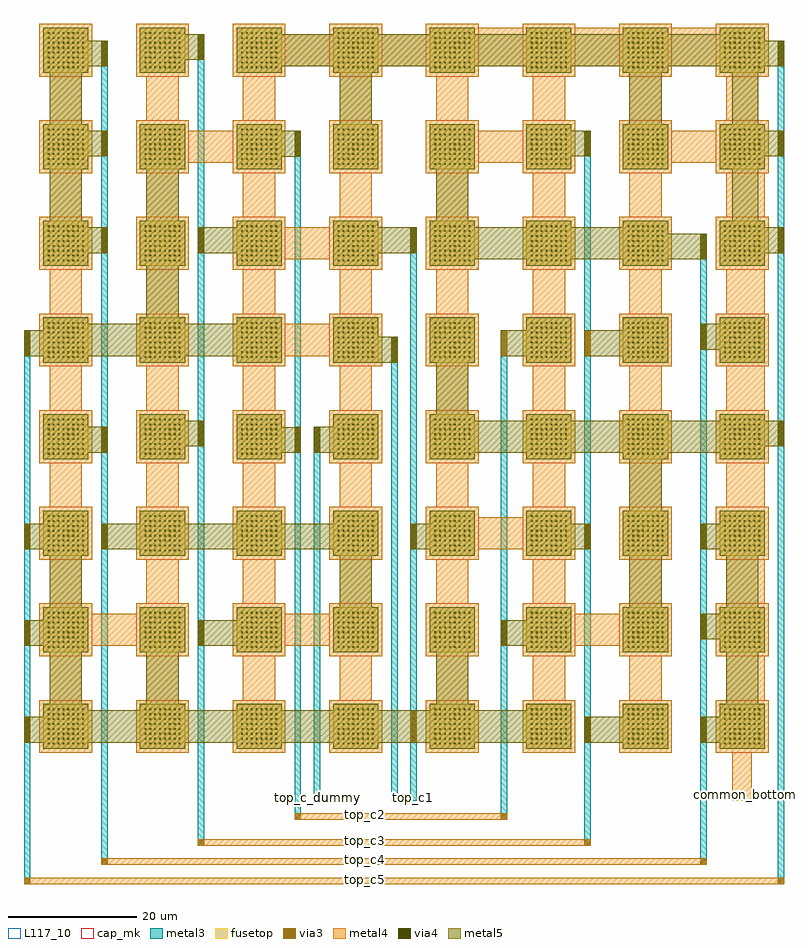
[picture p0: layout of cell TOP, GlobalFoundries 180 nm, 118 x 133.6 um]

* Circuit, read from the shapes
.subckt TOP common_bottom top_c0 top_c1 top_c2 top_c3 top_c4 top_c5 top_c_dummy
XC1 top_c5 common_bottom cap_mim_2f0fF c_width=7u c_length=7u m=32
XC2 top_c4 common_bottom cap_mim_2f0fF c_width=7u c_length=7u m=16
XC3 top_c3 common_bottom cap_mim_2f0fF c_width=7u c_length=7u m=7
XC4 top_c2 common_bottom cap_mim_2f0fF c_width=7u c_length=7u m=3
XC5 top_c_dummy common_bottom cap_mim_2f0fF c_width=7u c_length=7u
XC6 top_c0 common_bottom cap_mim_2f0fF c_width=7u c_length=7u
XC7 top_c1 common_bottom cap_mim_2f0fF c_width=7u c_length=7u m=2
XC8 n1 common_bottom cap_mim_2f0fF c_width=7u c_length=7u
XC9 n2 common_bottom cap_mim_2f0fF c_width=7u c_length=7u
.ends

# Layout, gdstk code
import gdstk
lib = gdstk.Library(unit=1e-6, precision=5e-09)
def R(c, l, rs):  # rectangles x0, y0, x1, y1
    for r in rs: c.add(gdstk.rectangle(r[:2], r[2:], *l))
def A(c, l, x, y, w, h, nx, ny, dx, dy):  # array of equal rectangles
    R(c, l, [(x+i*dx, y+j*dy, x+i*dx+w, y+j*dy+h) for i in range(nx) for j in range(ny)])
via3 = (40, 0)
via4 = (41, 0)
metal3 = (42, 0)
metal4 = (46, 0)
fusetop = (75, 0)
metal5 = (81, 0)
cap_mk = (117, 5)
L117_10 = (117, 10)

top = lib.new_cell('TOP')
A(top, via3, -111, -26, 1, 4, 1, 3, 0, 15)
A(top, via3, -24, -26, 1, 4, 1, 3, 0, 30)
A(top, via3, -84, 20, 1, 4, 1, 3, 0, 30)
R(top, via3, [(-111,-48,-110,-47), (6,-48,7,-47), (-99,-45,-98,-44), (-6,-45,-5,-44), (-84,-42,-83,-41), (-24,-42,-23,-41), (-69,-38,-68,-37), (-37,-38,-36,-37), (-51,-26,-50,-21), (-6,-26,-5,-22), (-6,-26,-5,-22), (-84,-11,-83,-7), (-37,-11,-36,-7), (-6,-10,-5,-6), (-99,4,-98,8), (-99,4,-98,8), (-99,4,-98,8), (-99,4,-98,8), (-51,4,-50,8), (-6,4,-5,8), (-99,19,-98,23), (-99,19,-98,23), (-99,19,-98,23), (-99,19,-98,23), (-69,19,-68,23), (-66,19,-65,23), (6,20,7,24), (-54,33,-53,37), (-111,34,-110,38), (-37,34,-36,38), (-6,35,-5,39), (-6,49,-5,53), (-99,50,-98,54), (-99,50,-98,54), (-99,50,-98,54), (-99,50,-98,54), (-51,50,-50,54), (6,50,7,54), (-99,65,-98,69), (-99,65,-98,69), (-69,65,-68,69), (-24,65,-23,69), (6,65,7,69), (-99,79,-98,83), (-99,79,-98,83), (6,79,7,83)])
A(top, via4, -107.29, -26.29, 0.26, 0.26, 8, 8, 0.76, 0.76)
A(top, via4, -92.29, -26.29, 0.26, 0.26, 8, 8, 0.76, 0.76)
A(top, via4, -77.29, -26.29, 0.26, 0.26, 8, 8, 0.76, 0.76)
A(top, via4, -62.29, -26.29, 0.26, 0.26, 8, 8, 0.76, 0.76)
A(top, via4, -47.29, -26.29, 0.26, 0.26, 8, 8, 0.76, 0.76)
A(top, via4, -32.29, -26.29, 0.26, 0.26, 8, 8, 0.76, 0.76)
A(top, via4, -17.29, -26.29, 0.26, 0.26, 8, 8, 0.76, 0.76)
A(top, via4, -2.29, -26.29, 0.26, 0.26, 8, 8, 0.76, 0.76)
A(top, via4, -111, -26, 1, 4, 1, 3, 0, 15)
A(top, via4, -107.29, -11.29, 0.26, 0.26, 8, 8, 0.76, 0.76)
A(top, via4, -92.29, -11.29, 0.26, 0.26, 8, 8, 0.76, 0.76)
A(top, via4, -77.29, -11.29, 0.26, 0.26, 8, 8, 0.76, 0.76)
A(top, via4, -62.29, -11.29, 0.26, 0.26, 8, 8, 0.76, 0.76)
A(top, via4, -47.29, -11.29, 0.26, 0.26, 8, 8, 0.76, 0.76)
A(top, via4, -32.29, -11.29, 0.26, 0.26, 8, 8, 0.76, 0.76)
A(top, via4, -17.29, -11.29, 0.26, 0.26, 8, 8, 0.76, 0.76)
A(top, via4, -2.29, -11.29, 0.26, 0.26, 8, 8, 0.76, 0.76)
A(top, via4, -107.29, 3.71, 0.26, 0.26, 8, 8, 0.76, 0.76)
A(top, via4, -92.29, 3.71, 0.26, 0.26, 8, 8, 0.76, 0.76)
A(top, via4, -77.29, 3.71, 0.26, 0.26, 8, 8, 0.76, 0.76)
A(top, via4, -62.29, 3.71, 0.26, 0.26, 8, 8, 0.76, 0.76)
A(top, via4, -47.29, 3.71, 0.26, 0.26, 8, 8, 0.76, 0.76)
A(top, via4, -32.29, 3.71, 0.26, 0.26, 8, 8, 0.76, 0.76)
A(top, via4, -17.29, 3.71, 0.26, 0.26, 8, 8, 0.76, 0.76)
A(top, via4, -2.29, 3.71, 0.26, 0.26, 8, 8, 0.76, 0.76)
A(top, via4, -107.29, 18.71, 0.26, 0.26, 8, 8, 0.76, 0.76)
A(top, via4, -92.29, 18.71, 0.26, 0.26, 8, 8, 0.76, 0.76)
A(top, via4, -77.29, 18.71, 0.26, 0.26, 8, 8, 0.76, 0.76)
A(top, via4, -62.29, 18.71, 0.26, 0.26, 8, 8, 0.76, 0.76)
A(top, via4, -47.29, 18.71, 0.26, 0.26, 8, 8, 0.76, 0.76)
A(top, via4, -32.29, 18.71, 0.26, 0.26, 8, 8, 0.76, 0.76)
A(top, via4, -17.29, 18.71, 0.26, 0.26, 8, 8, 0.76, 0.76)
A(top, via4, -2.29, 18.71, 0.26, 0.26, 8, 8, 0.76, 0.76)
A(top, via4, -84, 20, 1, 4, 1, 3, 0, 30)
A(top, via4, -107.29, 33.71, 0.26, 0.26, 8, 8, 0.76, 0.76)
A(top, via4, -92.29, 33.71, 0.26, 0.26, 8, 8, 0.76, 0.76)
A(top, via4, -77.29, 33.71, 0.26, 0.26, 8, 8, 0.76, 0.76)
A(top, via4, -62.29, 33.71, 0.26, 0.26, 8, 8, 0.76, 0.76)
A(top, via4, -47.29, 33.71, 0.26, 0.26, 8, 8, 0.76, 0.76)
A(top, via4, -32.29, 33.71, 0.26, 0.26, 8, 8, 0.76, 0.76)
A(top, via4, -17.29, 33.71, 0.26, 0.26, 8, 8, 0.76, 0.76)
A(top, via4, -2.29, 33.71, 0.26, 0.26, 8, 8, 0.76, 0.76)
A(top, via4, -107.29, 48.71, 0.26, 0.26, 8, 8, 0.76, 0.76)
A(top, via4, -92.29, 48.71, 0.26, 0.26, 8, 8, 0.76, 0.76)
A(top, via4, -77.29, 48.71, 0.26, 0.26, 8, 8, 0.76, 0.76)
A(top, via4, -62.29, 48.71, 0.26, 0.26, 8, 8, 0.76, 0.76)
A(top, via4, -47.29, 48.71, 0.26, 0.26, 8, 8, 0.76, 0.76)
A(top, via4, -32.29, 48.71, 0.26, 0.26, 8, 8, 0.76, 0.76)
A(top, via4, -17.29, 48.71, 0.26, 0.26, 8, 8, 0.76, 0.76)
A(top, via4, -2.29, 48.71, 0.26, 0.26, 8, 8, 0.76, 0.76)
A(top, via4, -107.29, 63.71, 0.26, 0.26, 8, 8, 0.76, 0.76)
A(top, via4, -92.29, 63.71, 0.26, 0.26, 8, 8, 0.76, 0.76)
A(top, via4, -77.29, 63.71, 0.26, 0.26, 8, 8, 0.76, 0.76)
A(top, via4, -62.29, 63.71, 0.26, 0.26, 8, 8, 0.76, 0.76)
A(top, via4, -47.29, 63.71, 0.26, 0.26, 8, 8, 0.76, 0.76)
A(top, via4, -32.29, 63.71, 0.26, 0.26, 8, 8, 0.76, 0.76)
A(top, via4, -17.29, 63.71, 0.26, 0.26, 8, 8, 0.76, 0.76)
A(top, via4, -2.29, 63.71, 0.26, 0.26, 8, 8, 0.76, 0.76)
A(top, via4, -107.29, 78.71, 0.26, 0.26, 8, 8, 0.76, 0.76)
A(top, via4, -92.29, 78.71, 0.26, 0.26, 8, 8, 0.76, 0.76)
A(top, via4, -77.29, 78.71, 0.26, 0.26, 8, 8, 0.76, 0.76)
A(top, via4, -62.29, 78.71, 0.26, 0.26, 8, 8, 0.76, 0.76)
A(top, via4, -47.29, 78.71, 0.26, 0.26, 8, 8, 0.76, 0.76)
A(top, via4, -32.29, 78.71, 0.26, 0.26, 8, 8, 0.76, 0.76)
A(top, via4, -17.29, 78.71, 0.26, 0.26, 8, 8, 0.76, 0.76)
A(top, via4, -2.29, 78.71, 0.26, 0.26, 8, 8, 0.76, 0.76)
R(top, via4, [(-24,-26,-23,-22), (-6,-26,-5,-22), (-84,-11,-83,-7), (-37,-11,-36,-7), (-6,-10,-5,-6), (-99,4,-98,8), (-99,4,-98,8), (-99,4,-98,8), (-99,4,-98,8), (-51,4,-50,8), (-24,4,-23,8), (-6,4,-5,8), (-99,19,-98,23), (-99,19,-98,23), (-99,19,-98,23), (-99,19,-98,23), (-69,19,-68,23), (-66,19,-65,23), (6,20,7,24), (-54,33,-53,37), (-111,34,-110,38), (-6,35,-5,39), (-6,49,-5,53), (-99,50,-98,54), (-99,50,-98,54), (-99,50,-98,54), (-99,50,-98,54), (-51,50,-50,54), (6,50,7,54), (-99,65,-98,69), (-99,65,-98,69), (-69,65,-68,69), (-24,65,-23,69), (6,65,7,69), (-99,79,-98,83), (-99,79,-98,83), (6,79,7,83)])
A(top, metal3, -111, -26, 1, 4, 1, 3, 0, 15)
A(top, metal3, -84, 20, 1, 4, 1, 3, 0, 30)
R(top, metal3, [(-111,-48,-110,-46), (6,-48,7,-45), (-111,-47,-110,-35), (6,-47,7,83), (-99,-45,-98,-33), (-6,-45,-5,-22), (-84,-42,-83,-35), (-24,-42,-23,-33), (-69,-38,-68,-35), (-37,-38,-36,38), (-111,-35,-110,38), (-99,-35,-98,8), (-84,-35,-83,-7), (-69,-35,-68,22.965), (-66,-35,-65,23), (-54,-35,-53,37), (-51,-35,-50,54), (-24,-35,-23,69), (-24,-26,-23,-22), (-6,-26,-5,-22), (-6,-26,-5,8), (-84,-11,-83,-7), (-84,-11,-83,84), (-37,-11,-36,-7), (-6,-10,-5,-6), (-99,4,-98,8), (-99,4,-98,8), (-99,4,-98,8), (-99,4,-98,8), (-99,4,-98,23), (-51,4,-50,8), (-24,4,-23,8), (-6,4,-5,8), (-6,4,-5,53), (-99,19,-98,23), (-99,19,-98,23), (-99,19,-98,23), (-99,19,-98,23), (-99,19,-98,54), (-69,19,-68,23), (-69,19,-68,69), (-66,19,-65,23), (6,20,7,24), (-54,33,-53,37), (-111,34,-110,38), (-37,34,-36,38), (-6,35,-5,39), (-6,49,-5,53), (-99,50,-98,54), (-99,50,-98,54), (-99,50,-98,54), (-99,50,-98,54), (-99,50,-98,83), (-51,50,-50,54), (6,50,7,54), (-99,65,-98,69), (-99,65,-98,69), (-69,65,-68,69), (6,65,7,69), (-99,79,-98,83), (-99,79,-98,83), (6,79,7,83)])
A(top, metal4, -108.6, -27.6, 8.2, 8.2, 8, 8, 15, 15)
A(top, metal4, -111, -26, 1, 4, 1, 3, 0, 15)
A(top, metal4, -24, -26, 1, 4, 1, 3, 0, 30)
A(top, metal4, -107, -19.4, 5, 6.8, 7, 6, 15, 15)
A(top, metal4, -2, -19.4, 6, 6.8, 1, 6, 0, 15)
A(top, metal4, -84, 20, 1, 4, 1, 3, 0, 30)
A(top, metal4, -107, 70.6, 5, 6.8, 8, 1, 15, 0)
A(top, metal4, -40.4, 79, 6.8, 6, 3, 1, 15, 0)
R(top, metal4, [(-111,-48,7,-47), (-99,-45,-5,-44), (-84,-42,-23,-41), (-69,-38,-36,-37), (-1,-35,2,-27.6), (-6,-26,-5,-22), (-100.4,-11,-93.6,-6), (-84,-11,-83,-7), (-70.4,-11,-63.6,-6), (-37,-11,-36,-7), (-25.4,-11,-18.6,-6), (-6,-10,-5,-6), (-99,4,-98,8), (-99,4,-98,8), (-99,4,-98,8), (-99,4,-98,8), (-51,4,-50,8), (-40.4,4,-33.6,9), (-6,4,-5,8), (-99,19,-98,23), (-99,19,-98,23), (-99,19,-98,23), (-99,19,-98,23), (-69,19,-68,23), (-66,19,-65,23), (6,20,7,24), (-54,33,-53,37), (-111,34,-110,38), (-70.4,34,-63.6,39), (-37,34,-36,38), (-6,35,-5,39), (-70.4,49,-63.6,54), (-6,49,-5,53), (-99,50,-98,54), (-99,50,-98,54), (-99,50,-98,54), (-99,50,-98,54), (-51,50,-50,54), (6,50,7,54), (-85.4,64,-78.6,69), (-40.4,64,-33.6,69), (-10.4,64,-3.6,69), (-99,65,-98,69), (-99,65,-98,69), (-69,65,-68,69), (-24,65,-23,69), (6,65,7,69), (-99,79,-98,83), (-99,79,-98,83), (-70.4,79,-63.6,84), (-55.4,79,-48.6,84), (6,79,7,83)])
A(top, fusetop, -108, -27, 7, 7, 8, 8, 15, 15)
A(top, metal5, -108, -27, 7, 7, 8, 8, 15, 15)
A(top, metal5, -111, -26, 3, 4, 1, 3, 0, 15)
A(top, metal5, -101, -26, 8, 5, 5, 1, 15, 0)
A(top, metal5, -92, -20, 5, 8, 3, 1, 45, 0)
A(top, metal5, -107, -5, 5, 8, 3, 2, 45, 75)
A(top, metal5, -41, 19, 8, 5, 3, 1, 15, 0)
A(top, metal5, -71, 79, 8, 5, 5, 1, 15, 0)
R(top, metal5, [(-24,-26,-18,-22), (-6,-26,-3,-22), (-107,-20,-102,-12), (-84,-11,-78,-7), (-37,-11,-33,-7), (-6,-10,-3,-6), (-2,-5,3,3), (-99,4,-93,8), (-86,4,-78,8), (-71,4,-63,8), (-51,4,-48,8), (-26,4,-23,8), (-6,4,-3,8), (-17,10,-12,18), (-66,18.985,-62.76,23), (-101,19,-98,23), (-101,19,-98,23), (-71.265,19,-68,22.965), (-86,20,-83,24), (4,20,7,24), (-47,25,-42,33), (-56,33,-53,37), (-111,34,-108,38), (-101,34,-93,39), (-86,34,-78,39), (-37,34,-33,38), (-24,34,-18,38), (-6,35,-3,39), (-92,40,-87,48), (-41,49,-33,54), (-26,49,-18,54), (-11,49,-5,53), (-101,50,-98,54), (-101,50,-98,54), (-84,50,-78,54), (-56,50,-50,54), (4,50,7,54), (-107,55,-102,63), (-92,55,-87,63), (-47,55,-42,63), (-1,55,3,63), (-71.225,64.99,-68,68.985), (-101,65,-98,69), (-26,65,-23,69), (4,65,7,69), (-1,70,3,78), (-101,79,-98,83), (4,79,7,83), (-86,80,-83,84)])
A(top, cap_mk, -108.6, -27.6, 8.2, 8.2, 8, 8, 15, 15)
A(top, L117_10, -108, -20.1, 7, 0.1, 8, 8, 15, 15)
top.add(gdstk.Label('common_bottom', (1,-34), layer=46, texttype=10))
top.add(gdstk.Label('top_c2', (-58,-37.1), layer=46, texttype=10))
top.add(gdstk.Label('top_c3', (-58,-41.25), layer=46, texttype=10))
top.add(gdstk.Label('top_c4', (-58,-44.2), layer=46, texttype=10))
top.add(gdstk.Label('top_c5', (-58,-47.3), layer=46, texttype=10))
top.add(gdstk.Label('top_c_dummy', (-65.5,-34.5), layer=42, texttype=10))
top.add(gdstk.Label('top_c1', (-50.5,-34.5), layer=42, texttype=10))
top.add(gdstk.Label('top_c0', (-53.5,-34.5), layer=42, texttype=10))

lib.write_gds('TOP.gds')
